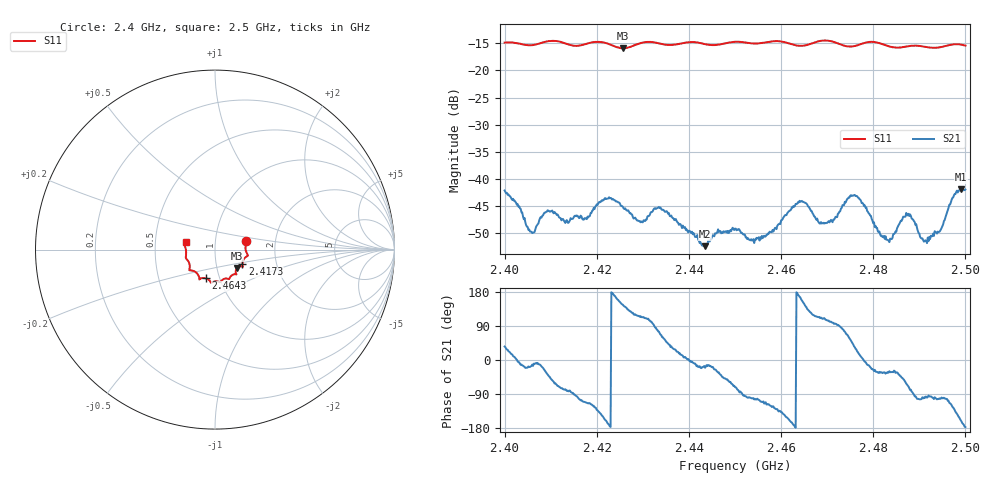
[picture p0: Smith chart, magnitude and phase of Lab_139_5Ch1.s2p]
# Hz S RI R 50
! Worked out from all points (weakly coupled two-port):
!   601 points, 2.4 GHz to 2.5 GHz, reference 50 ohm
!   highest |S21| = -41.87 dB at 2.499 GHz (marker M1); lowest = -52.4 dB at 2.4435 GHz (marker M2)
!   lowest |S11| = -15.9 dB at 2.4257 GHz (marker M3), VSWR 1.38, Z = 62.4 - j13.1 ohm
!   |S11| at or under -10 dB: start of sweep to end of sweep
!   S12 and S22 are empty: the file has one direction only
!   S11 on the Smith chart (normalised r, x): 2.4 GHz: 1.41, +0.14; 2.4173 GHz: 1.34, -0.23; 2.4643 GHz: 0.86, -0.28; 2.5 GHz: 0.72, +0.06
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2.4e9  0.1732 0.0496  0.00639 0.00456  0 0  0 0
2.406e9  0.1704 0.00106  0.00311 -0.000669  0 0  0 0
2.409167e9  0.1821 -0.0289  0.00407 -0.00292  0 0  0 0
2.416667e9  0.1532 -0.0747  -0.00124 -0.00437  0 0  0 0
2.417333e9  0.1527 -0.0821  -0.00153 -0.00408  0 0  0 0
2.422167e9  0.1503 -0.0943  -0.00628 -0.00197  0 0  0 0
2.425667e9  0.1224 -0.1021  -0.00459 0.00312  0 0  0 0
2.4295e9  0.1173 -0.1339  -0.00173 0.00361  0 0  0 0
2.433333e9  0.1131 -0.1369  0.00138 0.0053  0 0  0 0
2.4435e9  0.0664 -0.1609  0.00226 -0.00084  0 0  0 0
2.45e9  0.0298 -0.1808  0.00111 -0.00332  0 0  0 0
2.455833e9  -0.00528 -0.1783  -0.00103 -0.00281  0 0  0 0
2.464333e9  -0.0503 -0.1604  -0.00587 0.00206  0 0  0 0
2.466667e9  -0.0761 -0.1596  -0.00266 0.0043  0 0  0 0
2.471e9  -0.0869 -0.1632  -0.000665 0.00406  0 0  0 0
2.476e9  -0.1167 -0.1199  0.00594 0.00396  0 0  0 0
2.483333e9  -0.1407 -0.0893  0.00226 -0.00149  0 0  0 0
2.487667e9  -0.1587 -0.0526  0.00161 -0.00451  0 0  0 0
2.491833e9  -0.1609 -0.027  -0.000393 -0.00287  0 0  0 0
2.494667e9  -0.1634 0.00663  -0.000716 -0.00335  0 0  0 0
2.499e9  -0.1687 0.0363  -0.00752 -0.0029  0 0  0 0
2.5e9  -0.1636 0.0419  -0.008 -0.000396  0 0  0 0
